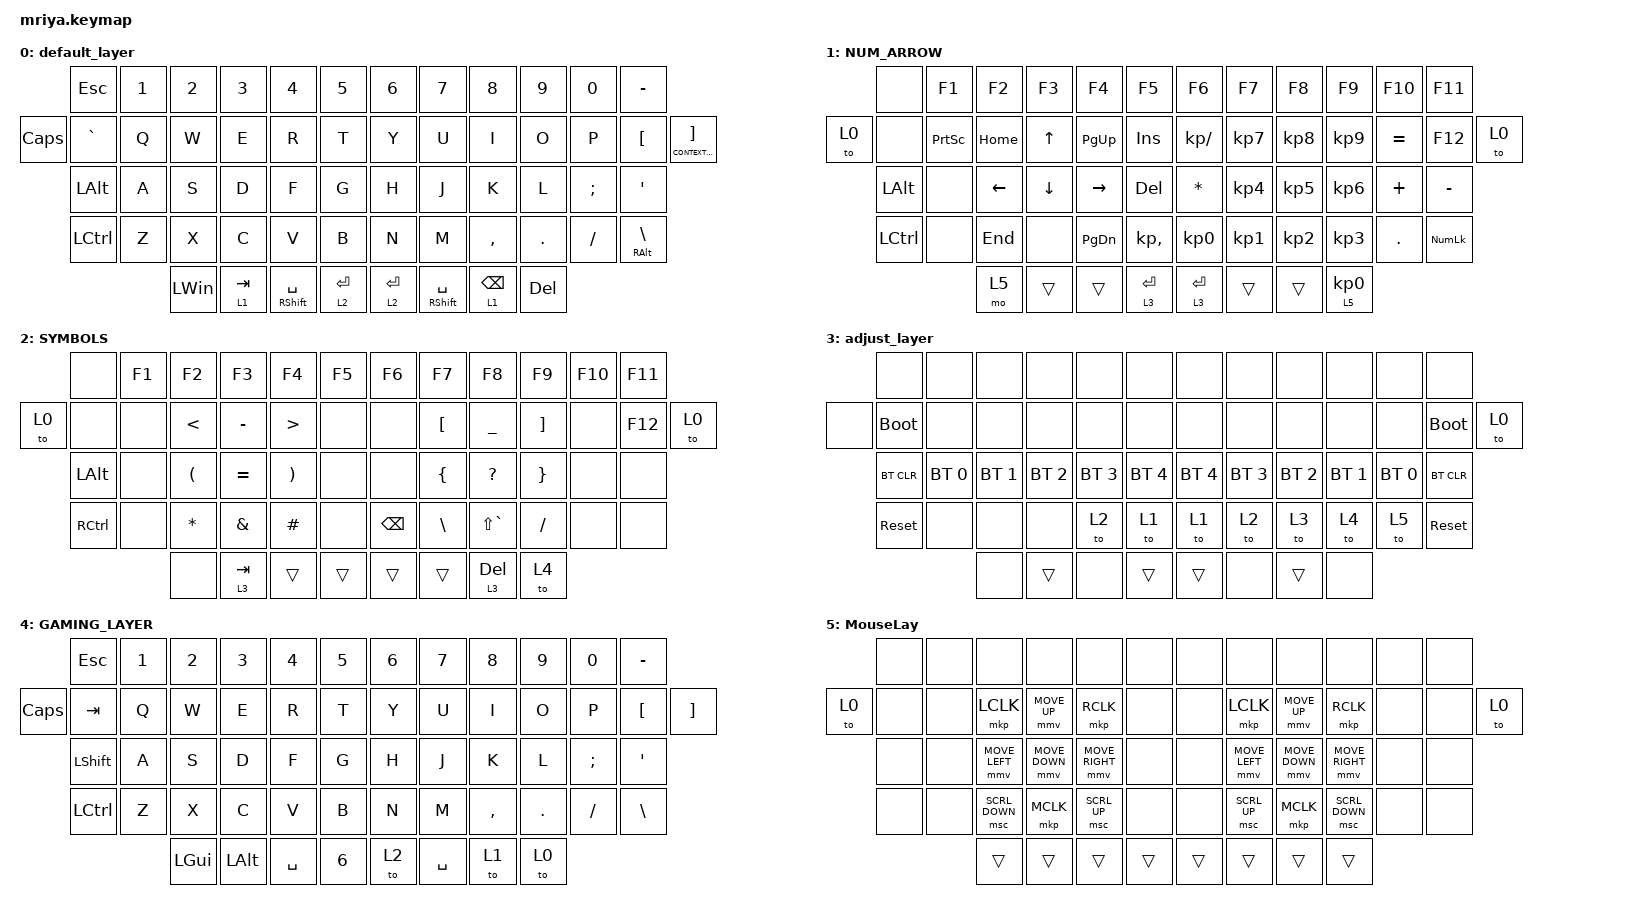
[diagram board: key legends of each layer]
/*
 * Copyright (c) 2023 Andrei Gaevskii
 *
 * SPDX-License-Identifier: MIT
 */

#include <behaviors.dtsi>
#include <dt-bindings/zmk/bt.h>
#include <dt-bindings/zmk/keys.h>
#include <dt-bindings/zmk/pointing.h>

#define DEF 0
#define LWR 1
#define RSE 2
#define ADJ 3

&lt { quick_tap_ms = <150>; };

&mt { quick_tap_ms = <150>; };

/ {
    keymap {
        compatible = "zmk,keymap";

        default_layer {
            bindings = <
          &kp ESC           &kp N1  &kp N2        &kp N3     &kp N4                 &kp N5       &kp N6       &kp N7           &kp N8           &kp N9   &kp N0    &kp MINUS
&kp CAPS  &kp GRAVE         &kp Q   &kp W         &kp E      &kp R                  &kp T        &kp Y        &kp U            &kp I            &kp O    &kp P     &kp LBKT        &mt K_CONTEXT_MENU RBKT
          &kp LEFT_ALT      &kp A   &kp S         &kp D      &kp F                  &kp G        &kp H        &kp J            &kp K            &kp L    &kp SEMI  &kp APOSTROPHE
          &kp LEFT_CONTROL  &kp Z   &kp X         &kp C      &kp V                  &kp B        &kp N        &kp M            &kp COMMA        &kp DOT  &kp FSLH  &mt RALT BSLH
                                    &kp LEFT_WIN  &lt 1 TAB  &mt RIGHT_SHIFT SPACE  &lt 2 RET    &lt 2 ENTER  &mt RSHFT SPACE  &lt 1 BACKSPACE  &kp DEL
            >;
        };

        NUM_ARROW {
            bindings = <
       &none         &kp F1           &kp F2    &kp F3    &kp F4     &kp F5          &kp F6           &kp F7           &kp F8           &kp F9             &kp F10     &kp F11
&to 0  &none         &kp PRINTSCREEN  &kp HOME  &kp UP    &kp PG_UP  &kp INSERT      &kp KP_DIVIDE    &kp KP_NUMBER_7  &kp KP_NUMBER_8  &kp KP_NUMBER_9    &kp EQUAL   &kp F12         &to 0
       &kp LEFT_ALT  &none            &kp LEFT  &kp DOWN  &kp RIGHT  &kp DELETE      &kp STAR         &kp KP_NUMBER_4  &kp KP_NUMBER_5  &kp KP_NUMBER_6    &kp PLUS    &kp MINUS
       &kp LCTRL     &none            &kp END   &none     &kp PG_DN  &kp KP_COMMA    &kp KP_NUMBER_0  &kp KP_NUMBER_1  &kp KP_NUMBER_2  &kp KP_NUMBER_3    &kp PERIOD  &kp KP_NUMLOCK
                                      &mo 5     &trans    &trans     &lt 3 ENTER     &lt 3 ENTER      &trans           &trans           &lt 5 KP_NUMBER_0
            >;
        };

        SYMBOLS {
            bindings = <
       &none              &kp F1  &kp F2                &kp F3         &kp F4                 &kp F5    &kp F6         &kp F7    &kp F8         &kp F9    &kp F10  &kp F11
&to 0  &none              &none   &kp LESS_THAN         &kp MINUS      &kp GREATER_THAN       &none     &none          &kp LBKT  &kp UNDER      &kp RBKT  &none    &kp F12  &to 0
       &kp LEFT_ALT       &none   &kp LEFT_PARENTHESIS  &kp EQUAL      &kp RIGHT_PARENTHESIS  &none     &none          &kp LBRC  &kp QUESTION   &kp RBRC  &none    &none
       &kp RIGHT_CONTROL  &none   &kp STAR              &kp AMPERSAND  &kp HASH               &none     &kp BACKSPACE  &kp BSLH  &kp LS(GRAVE)  &kp FSLH  &none    &none
                                  &none                 &lt 3 TAB      &trans                 &trans    &trans         &trans    &lt 3 DELETE   &to 4
            >;
        };

        adjust_layer {
            bindings = <
       &none        &none         &none         &none         &none         &none           &none         &none         &none         &none         &none         &none
&none  &bootloader  &none         &none         &none         &none         &none           &none         &none         &none         &none         &none         &bootloader  &to 0
       &bt BT_CLR   &bt BT_SEL 0  &bt BT_SEL 1  &bt BT_SEL 2  &bt BT_SEL 3  &bt BT_SEL 4    &bt BT_SEL 4  &bt BT_SEL 3  &bt BT_SEL 2  &bt BT_SEL 1  &bt BT_SEL 0  &bt BT_CLR
       &sys_reset   &none         &none         &none         &to 2         &to 1           &to 1         &to 2         &to 3         &to 4         &to 5         &sys_reset
                                  &none         &trans        &none         &trans          &trans        &none         &trans        &none
            >;
        };

        GAMING_LAYER {
            bindings = <
          &kp ESC    &kp N1  &kp N2    &kp N3    &kp N4     &kp N5          &kp N6  &kp N7     &kp N8     &kp N9   &kp N0    &kp MINUS
&kp CAPS  &kp TAB    &kp Q   &kp W     &kp E     &kp R      &kp T           &kp Y   &kp U      &kp I      &kp O    &kp P     &kp LBKT   &kp RBKT
          &kp LSHFT  &kp A   &kp S     &kp D     &kp F      &kp G           &kp H   &kp J      &kp K      &kp L    &kp SEMI  &kp SQT
          &kp LCTRL  &kp Z   &kp X     &kp C     &kp V      &kp B           &kp N   &kp M      &kp COMMA  &kp DOT  &kp FSLH  &kp BSLH
                             &kp LGUI  &kp LALT  &kp SPACE  &kp NUMBER_6    &to 2   &kp SPACE  &to 1      &to 0
            >;
        };

        MouseLay {
            bindings = <
       &none  &none  &none           &none           &none            &none     &none   &none           &none           &none            &none  &none
&to 0  &none  &none  &mkp LCLK       &mmv MOVE_UP    &mkp RCLK        &none     &none   &mkp LCLK       &mmv MOVE_UP    &mkp RCLK        &none  &none  &to 0
       &none  &none  &mmv MOVE_LEFT  &mmv MOVE_DOWN  &mmv MOVE_RIGHT  &none     &none   &mmv MOVE_LEFT  &mmv MOVE_DOWN  &mmv MOVE_RIGHT  &none  &none
       &none  &none  &msc SCRL_DOWN  &mkp MCLK       &msc SCRL_UP     &none     &none   &msc SCRL_UP    &mkp MCLK       &msc SCRL_DOWN   &none  &none
                     &trans          &trans          &trans           &trans    &trans  &trans          &trans          &trans
            >;
        };
    };
};
